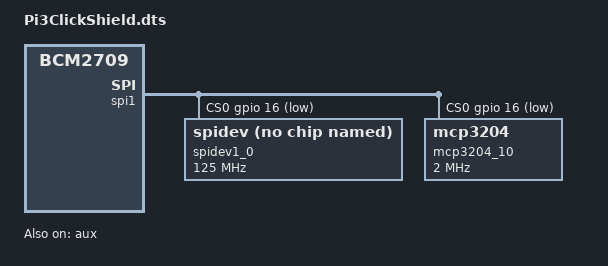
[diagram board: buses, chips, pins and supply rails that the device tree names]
/* Device tree overlay for the Microchip MCP3204 12-bit A/D Converter */
/* on the Mikroelektronika Pi 3 Click Shield (MIKROE-2756).           */

/dts-v1/;
/plugin/;

/ {
	compatible = "brcm,bcm2835", "brcm,bcm2708", "brcm,bcm2709";

	fragment@0 {
		target = <&gpio>;
		__overlay__ {
			spi1_pins: spi1_pins {
				brcm,pins = <19 20 21>;
				brcm,function = <3>; /* alt4 */
			};

			spi1_cs_pins: spi1_cs_pins {
				brcm,pins = <16>;
				brcm,function = <1>; /* output */
			};
		};
	};

	fragment@1 {
		target = <&spi1>;
		frag1: __overlay__ {
			#address-cells = <1>;
			#size-cells = <0>;
			pinctrl-names = "default";
			pinctrl-0 = <&spi1_pins &spi1_cs_pins>;
			cs-gpios = <&gpio 16 1>;
			status = "okay";

			spidev1_0: spidev@0 {
				compatible = "spidev";
				reg = <0>;      /* CE0 */
				#address-cells = <1>;
				#size-cells = <0>;
				spi-max-frequency = <125000000>;
				status = "okay";
			};
		};
	};

	fragment@2 {
		target = <&aux>;
		__overlay__ {
			status = "okay";
		};
	};

	fragment@3 {
		target-path = "spi1/spidev@0";
		__overlay__ {
			status = "disabled";
		};
	};

	fragment@4 {
		target = <&spi1>;
		__overlay__ {
			status = "okay";
			#address-cells = <1>;
			#size-cells = <0>;

			mcp3204_10: mcp3204@0 {
				compatible = "mcp3204";
				reg = <0>;
				spi-max-frequency = <2000000>;
			};
		};
	};
};
